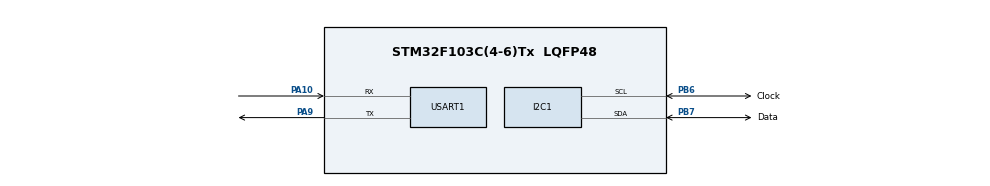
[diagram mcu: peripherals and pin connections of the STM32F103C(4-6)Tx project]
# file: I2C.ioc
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Mcu.Family=STM32F1
Mcu.Name=STM32F103C(4-6)Tx
Mcu.Package=LQFP48
NVIC.PriorityGroup=NVIC_PRIORITYGROUP_4
PA10.Mode=Asynchronous
PA10.Signal=USART1_RX
PA13.Mode=Serial_Wire
PA13.Signal=SYS_JTMS-SWDIO
PA14.Mode=Serial_Wire
PA14.Signal=SYS_JTCK-SWCLK
PA9.Mode=Asynchronous
PA9.Signal=USART1_TX
PB6.GPIO_Label=Clock
PB6.GPIO_Pu=GPIO_PULLUP
PB6.Mode=I2C
PB6.Signal=I2C1_SCL
PB7.GPIO_Label=Data
PB7.GPIO_Pu=GPIO_PULLUP
PB7.Mode=I2C
PB7.Signal=I2C1_SDA
PD0-OSC_IN.Mode=HSE-External-Oscillator
PD0-OSC_IN.Signal=RCC_OSC_IN
PD1-OSC_OUT.Mode=HSE-External-Oscillator
PD1-OSC_OUT.Signal=RCC_OSC_OUT
ProjectManager.HeapSize=0x200
ProjectManager.StackSize=0x400
ProjectManager.TargetToolchain=STM32CubeIDE
RCC.APB1Freq_Value=8000000
RCC.APB2Freq_Value=8000000
USART1.VirtualMode=VM_ASYNC
board=custom

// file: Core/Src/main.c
/* USER CODE BEGIN Header */
/**
  ******************************************************************************
  * @file           : main.c
  * @brief          : Main program body
  ******************************************************************************
  * @attention
  *
  * Copyright (c) 2025 STMicroelectronics.
  * All rights reserved.
  *
  * This software is licensed under terms that can be found in the LICENSE file
  * in the root directory of this software component.
  * If no LICENSE file comes with this software, it is provided AS-IS.
  *
  ******************************************************************************
  */
/* USER CODE END Header */
#include "main.h"

/* USER CODE BEGIN Includes */
#include <stdio.h>
#include <stdint.h>
#include <string.h>

/* USER CODE END Includes */

/* USER CODE BEGIN PM */
#define BMP_ADDR 0x76<<1
#define TEMP_ADDR 0XFA
#define CALIB_TEMP_REG 0X88

/* USER CODE END PM */

I2C_HandleTypeDef hi2c1;

UART_HandleTypeDef huart1;

/* USER CODE BEGIN PV */
int32_t temp_conv;
uint16_t digt1,digt2,digt3;
volatile float temp_c;

/* USER CODE END PV */

void SystemClock_Config(void);
static void MX_GPIO_Init(void);
static void MX_I2C1_Init(void);
static void MX_USART1_UART_Init(void);
/* USER CODE BEGIN PFP */

void BMP_Readcalibration(){

	uint8_t calib[6];
	HAL_I2C_Mem_Read(&hi2c1, BMP_ADDR, CALIB_TEMP_REG, 1, calib, 6, HAL_MAX_DELAY);
	digt1 = (calib[1]<<8) | calib[0];
	digt2 = (calib[3]<<8) | calib[2];
	digt3 = (calib[5]<<8) | calib[4];

}

int32_t Read_temperature(){
	uint8_t tmp_raw[3];
	int32_t tmp_adc;

	HAL_I2C_Mem_Read(&hi2c1, BMP_ADDR, TEMP_ADDR, 1, tmp_raw, 3, HAL_MAX_DELAY);

	tmp_adc = ((int32_t)tmp_raw[0]<<12) | ((int32_t)tmp_raw[1]<<4) | ((int32_t)tmp_raw[2]>>4);

	return tmp_adc;

}

float BMP_in_celsius(int32_t tmp_adc){

	int32_t var1,var2;
	float temp;

	var1 = ((tmp_adc>>3) - (digt1<<1))*(digt2>>11);
	var2 = ((tmp_adc>>4)- (digt1)) * ((tmp_adc>>4)-(digt1>>12)) * (digt3>>14);
	temp_conv = var1+var2;
	temp = (temp_conv*5+128)>>8;
	return temp/100.0;
}

void printtemperature(float temp_c){

	char msg[50];
	sprintf(msg, "Temerature: %.2f C\r\n",temp_c);
	HAL_UART_Transmit(&huart1, (uint8_t *)msg, strlen(msg), HAL_MAX_DELAY);

}

/* USER CODE END PFP */

int main(void)
{

  /* MCU Configuration--------------------------------------------------------*/

  /* Reset of all peripherals, Initializes the Flash interface and the Systick. */
  HAL_Init();

  /* Configure the system clock */
  SystemClock_Config();

  /* Initialize all configured peripherals */
  MX_GPIO_Init();
  MX_I2C1_Init();
  MX_USART1_UART_Init();
  /* USER CODE BEGIN 2 */

  BMP_Readcalibration();

  /* USER CODE END 2 */

  /* Infinite loop */
  while (1)
  {
	  int32_t raw_temp = Read_temperature();
	  temp_c = BMP_in_celsius(raw_temp);
	  printtemperature(temp_c);

	  //printf("Temperature: %.2f °C\n", temp_c);
	  HAL_Delay(1000);

  }
}

void SystemClock_Config(void)
{
  RCC_OscInitTypeDef RCC_OscInitStruct = {0};
  RCC_ClkInitTypeDef RCC_ClkInitStruct = {0};

  /** Initializes the RCC Oscillators according to the specified parameters
  * in the RCC_OscInitTypeDef structure.
  */
  RCC_OscInitStruct.OscillatorType = RCC_OSCILLATORTYPE_HSI;
  RCC_OscInitStruct.HSIState = RCC_HSI_ON;
  RCC_OscInitStruct.HSICalibrationValue = RCC_HSICALIBRATION_DEFAULT;
  RCC_OscInitStruct.PLL.PLLState = RCC_PLL_NONE;
  if (HAL_RCC_OscConfig(&RCC_OscInitStruct) != HAL_OK)
  {
    Error_Handler();
  }

  /** Initializes the CPU, AHB and APB buses clocks
  */
  RCC_ClkInitStruct.ClockType = RCC_CLOCKTYPE_HCLK|RCC_CLOCKTYPE_SYSCLK
                              |RCC_CLOCKTYPE_PCLK1|RCC_CLOCKTYPE_PCLK2;
  RCC_ClkInitStruct.SYSCLKSource = RCC_SYSCLKSOURCE_HSI;
  RCC_ClkInitStruct.AHBCLKDivider = RCC_SYSCLK_DIV1;
  RCC_ClkInitStruct.APB1CLKDivider = RCC_HCLK_DIV1;
  RCC_ClkInitStruct.APB2CLKDivider = RCC_HCLK_DIV1;

  if (HAL_RCC_ClockConfig(&RCC_ClkInitStruct, FLASH_LATENCY_0) != HAL_OK)
  {
    Error_Handler();
  }
}

static void MX_I2C1_Init(void)
{

  hi2c1.Instance = I2C1;
  hi2c1.Init.ClockSpeed = 100000;
  hi2c1.Init.DutyCycle = I2C_DUTYCYCLE_2;
  hi2c1.Init.OwnAddress1 = 0;
  hi2c1.Init.AddressingMode = I2C_ADDRESSINGMODE_7BIT;
  hi2c1.Init.DualAddressMode = I2C_DUALADDRESS_DISABLE;
  hi2c1.Init.OwnAddress2 = 0;
  hi2c1.Init.GeneralCallMode = I2C_GENERALCALL_DISABLE;
  hi2c1.Init.NoStretchMode = I2C_NOSTRETCH_DISABLE;
  if (HAL_I2C_Init(&hi2c1) != HAL_OK)
  {
    Error_Handler();
  }

}

static void MX_USART1_UART_Init(void)
{

  huart1.Instance = USART1;
  huart1.Init.BaudRate = 115200;
  huart1.Init.WordLength = UART_WORDLENGTH_8B;
  huart1.Init.StopBits = UART_STOPBITS_1;
  huart1.Init.Parity = UART_PARITY_NONE;
  huart1.Init.Mode = UART_MODE_TX_RX;
  huart1.Init.HwFlowCtl = UART_HWCONTROL_NONE;
  huart1.Init.OverSampling = UART_OVERSAMPLING_16;
  if (HAL_UART_Init(&huart1) != HAL_OK)
  {
    Error_Handler();
  }

}

static void MX_GPIO_Init(void)
{

  /* GPIO Ports Clock Enable */
  __HAL_RCC_GPIOD_CLK_ENABLE();
  __HAL_RCC_GPIOA_CLK_ENABLE();
  __HAL_RCC_GPIOB_CLK_ENABLE();

}

void Error_Handler(void)
{
  __disable_irq();
  while (1)
  {
  }
}
